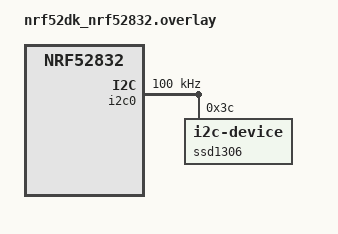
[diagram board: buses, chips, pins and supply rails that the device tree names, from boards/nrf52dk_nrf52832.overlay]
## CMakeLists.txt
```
#
# Copyright (c) 2019 Nordic Semiconductor ASA
#
# SPDX-License-Identifier: Apache-2.0
#

cmake_minimum_required(VERSION 3.20.0)
find_package(Zephyr REQUIRED HINTS $ENV{ZEPHYR_BASE})
project(ssd1306-oled-drivers)

FILE(GLOB app_sources src/*.c)
target_sources(app PRIVATE ${app_sources})
```

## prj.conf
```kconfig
#
# Copyright (c) 2019 Nordic Semiconductor ASA
#
# SPDX-License-Identifier: Apache-2.0
#
CONFIG_I2C=y
CONFIG_MULTITHREADING=y
```

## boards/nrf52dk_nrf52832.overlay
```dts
// To get started, press Ctrl+Space to bring up the completion menu and view the available nodes.

// You can also use the buttons in the sidebar to perform actions on nodes.
// Actions currently available include:

// * Enabling / disabling the node
// * Adding the bus to a bus
// * Removing the node
// * Connecting ADC channels

// For more help, browse the DeviceTree documentation at https://docs.zephyrproject.org/latest/guides/dts/index.html
// You can also visit the nRF DeviceTree extension documentation at https://docs.nordicsemi.com/bundle/nrf-connect-vscode/page/guides/ncs_configure_app.html#devicetree-support-in-the-extension
&i2c0 {
    ssd1306: ssd1306@3c{
        compatible = "i2c-device";
        status = "okay";
        reg = < 0x3c >;
    };

    clock-frequency = <I2C_BITRATE_STANDARD>;
};
```

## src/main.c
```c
#include <zephyr/kernel.h>
#include <zephyr/device.h>
#include <zephyr/devicetree.h>
#include <zephyr/sys/printk.h>
#include <zephyr/drivers/i2c.h>

#include "ssd1306.h"

#define I2C0_NODE DT_NODELABEL(ssd1306)
K_MUTEX_DEFINE(screen_write);

/* Define stack size and scheduling priority used by each thread */
#define STACKSIZE 1024
#define THREAD0_PRIORITY 2
#define THREAD1_PRIORITY 5

ssd1306_device dev;
uint32_t frame = 0;

void thread0(void)
{ 
  while (1)
  {
    for (int i = 0; i < 64; i++)
    {
      for (int r = -i / 4; r <= i / 4; r++)
      {
        ssd1306_drawPixelToBuff(dev.buffer, 10 + i, 16 + r, true);
      }
    }
    k_busy_wait(1500*1000);
    printk("Slept 1\n");

    k_msleep(10);
    printk("Slept 2\n");

    k_busy_wait(1500*1000);
    printk("Slept 3\n");

    k_msleep(10);
    printk("Slept 4\n");

    k_busy_wait(1500*1000);
    printk("Slept 5\n");

    for (int i = 63; i >= 0; i--)
    {
      for (int r = -i / 4; r <= i / 4; r++)
      {
        ssd1306_drawPixelToBuff(dev.buffer, 10 + i, 16 + r, false);
      }
    }

    ssd1306_writeStringToBuff(dev.buffer, "12345678", 10, 0, CharData);
    ssd1306_writeStringToBuff(dev.buffer, "ASDFGHJK", 10, 1, CharData);
    ssd1306_writeStringToBuff(dev.buffer, "ZXCVBNMH", 10, 2, CharData);
    ssd1306_writeStringToBuff(dev.buffer, "!@#$^&*(", 10, 3, CharData);
    k_msleep(60);
    printk("Slept 6\n");
    k_busy_wait(500*1000);

    ssd1306_writeStringToBuff(dev.buffer, "        ", 10, 0, CharData);
    ssd1306_writeStringToBuff(dev.buffer, "        ", 10, 1, CharData);
    ssd1306_writeStringToBuff(dev.buffer, "        ", 10, 2, CharData);
    ssd1306_writeStringToBuff(dev.buffer, "        ", 10, 3, CharData);
  }
}

void thread1(void)
{
  /* Retrieve the API-specific device structure and make sure that the device is ready to use  */
  static const struct i2c_dt_spec dev_i2c = I2C_DT_SPEC_GET(I2C0_NODE);
  if (!device_is_ready(dev_i2c.bus))
  {
    printk("Welp, not ready...");
    return 1;
  }
  ssd1306_device_init(&dev, &dev_i2c);
  ssd1306_init(&dev);

  uint32_t last = k_uptime_get();

  while (1)
  {
    uint32_t start = k_uptime_get();
    ssd1306_updateScreen(&dev);
    uint32_t delta2 = k_uptime_get() - start;
    uint32_t delta = k_uptime_get() - last;
    frame++;
    if (delta >= 1000) {
      
      printk("F: %d, L:%d, T:%d\n", frame, delta, delta2);
      frame = 0;
      k_msleep(30);
      last = k_uptime_get();
    }
  }
}

/* Main function is not mandatory. */
int main(void)
{
  return 0;
}

K_THREAD_DEFINE(thread0_id, STACKSIZE, thread0, NULL, NULL, NULL, THREAD0_PRIORITY, 0, 100);
K_THREAD_DEFINE(thread1_id, STACKSIZE, thread1, NULL, NULL, NULL, THREAD1_PRIORITY, 0, 0);
```

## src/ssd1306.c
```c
#include <zephyr/kernel.h>
#include <zephyr/drivers/i2c.h>
#include <stdbool.h>
#include <stdint.h>
#include "ssd1306.h"

bool x_reverse = false;
bool y_reverse = false;
uint8_t SSD1306_Buffer[SSD1306_WIDTH * SSD1306_HEIGHT / 8] = {};

void ssd1306_device_init(ssd1306_device* dev, const struct i2c_dt_spec* i2c_spec) {
    dev->buffer = SSD1306_Buffer;
    dev->i2c_spec = i2c_spec;
    // Additional setup could go here
}


  // Init LCD
uint8_t ssd1306_init(ssd1306_device* dev) {
  uint8_t errors = 0;

  errors += ssd1306_writeCommand(dev->i2c_spec, 0xA8);   // Set MUX ratio:
  errors += ssd1306_writeCommand(dev->i2c_spec, 0x1F);   // 0x1F (31) for 128x32, 0x3F (63) for 128x64.

  errors += ssd1306_writeCommand(dev->i2c_spec, 0xD3);   // Set display offset:
  errors += ssd1306_writeCommand(dev->i2c_spec, 0x00);   // No offset.

  errors += ssd1306_writeCommand(dev->i2c_spec, 0x40);   // Set Display Start Line (0x40~0x7F).

  errors += ssd1306_writeCommand(dev->i2c_spec, 0xA1);   // Set Segment Re-map (A0h/A1h). Set to A0 to flip horizontally.
  errors += ssd1306_writeCommand(dev->i2c_spec, 0xC8);   // Set COM Output Scan Direction (Scan direction: from COM0 to COM63, 0xC8 for reversed).

  errors += ssd1306_writeCommand(dev->i2c_spec, 0xDA);   // Set COM Pins Hardware Configuration to:
  errors += ssd1306_writeCommand(dev->i2c_spec, 0x02);   // 0x02 for 128x32, 0x12 for 128x64. 

  errors += ssd1306_writeCommand(dev->i2c_spec, 0x81);   // Set contrast Control for BANK0 (81h) to:
  errors += ssd1306_writeCommand(dev->i2c_spec, 0x20);   // 0x7F.

  errors += ssd1306_writeCommand(dev->i2c_spec, 0xA4);   // Get pixel info from RAM.

  errors += ssd1306_writeCommand(dev->i2c_spec, 0xA6);   // Normal display mode (0 in RAM: OFF, 1 in RAM: ON), 0xA6 for reversed.

  errors += ssd1306_writeCommand(dev->i2c_spec, 0xD5);   // Set Display Clock Divide Ratio/ Oscillator Frequency to:
  errors += ssd1306_writeCommand(dev->i2c_spec, 0xF0);   // F - max freq, 0 - min divider. 

  errors += ssd1306_writeCommand(dev->i2c_spec, 0x8D);   // Set charge pump to:
  errors += ssd1306_writeCommand(dev->i2c_spec, 0x14);   // 0x14 - enabled.

  errors += ssd1306_writeCommand(dev->i2c_spec, 0x20);   // Set addressing mode to:
  errors += ssd1306_writeCommand(dev->i2c_spec, 0x00);   // Horizontal mode. 0x10 for Page mode.

  errors += ssd1306_writeCommand(dev->i2c_spec, 0x21);   // Set min and max column
  errors += ssd1306_writeCommand(dev->i2c_spec, 0x00);   // Horizontal mode. 0x10 for Page mode.
  errors += ssd1306_writeCommand(dev->i2c_spec, 127);   // Horizontal mode. 0x10 for Page mode.

  errors += ssd1306_writeCommand(dev->i2c_spec, 0xAF);   // Enable display.

  return errors;
}


uint8_t ssd1306_drawPixelToBuff(uint8_t *buffer, uint8_t x, uint8_t y, bool color)
{   
  
  if (x >= SSD1306_WIDTH || y >= SSD1306_HEIGHT)
  {
    return 99;
  }

  if (color)
  {
    buffer[x + (y / 8) * SSD1306_WIDTH] |= 1 << (y % 8);
  }
  else
  {
    buffer[x + (y / 8) * SSD1306_WIDTH] &= ~(1 << (y % 8));
  }
  return 0;
}

uint8_t ssd1306_drawPixel(ssd1306_device* dev, uint8_t x, uint8_t y, bool color)
{ 
  uint8_t errors = 0;
  errors += ssd1306_drawPixelToBuff(dev->buffer, x, y, color);
  errors += ssd1306_updatePage(dev, x, y / 8);
  return errors;
}

/*
void ssd1306_writeChar(unsigned char ch, uint8_t start_x, uint8_t row, const fontData font[][5])
{ 
  uint8_t font_width = 5;
  for (int i = 0; i < font_width; i++) 
  {
    SSD1306_Buffer[start_x + row * SSD1306_WIDTH + i] = font[ch][i];
  }
  
  ssd1306_updateChar(start_x, row, font_width);
}
*/

uint8_t ssd1306_writeCharToBuff(uint8_t *buffer, unsigned char ch, uint8_t start_x, uint8_t row, const fontData font[][5])
{ 
  uint8_t font_width = 5;
  for (int i = 0; i < font_width; i++) 
  {
    buffer[start_x + row * SSD1306_WIDTH + i] = font[ch][i];
  }
  return 0;
}


uint8_t ssd1306_writeStringToBuff(uint8_t *buffer, char* str, uint8_t start_x, uint8_t row, const fontData font[][5])
{ 
  uint8_t chars_printed = 0;
  uint8_t font_width_with_spaces = 6;
  uint8_t length = strlen(str); 

  for (uint8_t i = 0; i < length; i++)
  {
    if (start_x + chars_printed*font_width_with_spaces < SSD1306_WIDTH)
    {
      ssd1306_writeCharToBuff(buffer, str[i], start_x + chars_printed*font_width_with_spaces, row, font);
      chars_printed++;
    }
    else {
      return 1;
    }
  }
  return 0;
}


uint8_t ssd1306_writeCommand(const struct i2c_dt_spec * dev_i2c, uint8_t command)
{   
  //HAL_I2C_Mem_Write(I2C_HandleTypeDef *hi2c, uint16_t DevAddress, uint16_t MemAddress, uint16_t MemAddSize, uint8_t *pData, uint16_t Size, uint32_t Timeout)
  //HAL_I2C_Mem_Write(_i2c, _address, 0x00, 1, &command, 1, 50);
  //i2c_reg_write_byte_dt
  return i2c_reg_write_byte_dt(dev_i2c, 0x00, command);
}

uint8_t ssd1306_writeData(const struct i2c_dt_spec * dev_i2c, uint8_t* data, uint16_t data_len)
{ 
    return i2c_burst_write_dt(dev_i2c, 0x40, data, data_len);
}

/*
uint8_t ssd1306_writeData(const struct i2c_dt_spec * dev_i2c, uint8_t* data, uint16_t data_len)
{ 
    // return HAL_I2C_Mem_Write(_i2c, _address, 0x40, 1, data, data_len, 100);
    uint8_t buf[1 + data_len];
    buf[0] = 0x40;           // Memory address (register)
    memcpy(&buf[1], data, data_len);  // Copy data after the memory address

    // Perform the I2C write operation
    return i2c_write_dt(dev_i2c, buf, sizeof(buf));
}*/

void i2c_transfer_complete_callback(){
  printk("Transfer CB!\n");
}

uint8_t ssd1306_writeDataDMA(const struct i2c_dt_spec * dev_i2c, uint8_t* data, uint16_t data_len)
{ 
    uint8_t buffer[data_len + 1];
    buffer[0] = 0x40;                     // First byte is the register address
    memcpy(&buffer[1], data, data_len);   // Copy the data after the register address

    // Create an I2C message for the burst write
    struct i2c_msg msg = {
        .buf = buffer,
        .len = data_len + 1,
        .flags = I2C_MSG_WRITE | I2C_MSG_STOP,
    };

    // Perform the asynchronous I2C transfer with a callback
    int ret = i2c_transfer_cb_dt(dev_i2c, &msg, 1, i2c_transfer_complete_callback, NULL);
    if (ret) {
        printk("Failed to start I2C burst write: %d\n", ret);
    }


  return 99;//HAL_I2C_Mem_Write_DMA(_i2c, _address, 0x40, 1, data, data_len);
}

// Page is vertical 8 bit chunk of LCD.
uint8_t ssd1306_updatePage(ssd1306_device* dev, uint8_t x, uint8_t p_index)
{
  uint8_t errors = 0;
  errors += ssd1306_writeCommand(dev->i2c_spec, 0xB0 + p_index);    // Set the page start address of the target display location by command (0xB0 to 0xB7).
  errors += ssd1306_writeCommand(dev->i2c_spec, x % 16);            // Set the lower start column address of pointer by command (0x00~0x0F).
  errors += ssd1306_writeCommand(dev->i2c_spec, 0x10 + x/16);       // Set the upper start column address of pointer by command (0x10~0x1F).

  errors += ssd1306_writeData(dev->i2c_spec, &dev->buffer[x + p_index * 128], 1);
  return errors;
}

/*
// Page is vertical 8 bit chunk of LCD.
void ssd1306_updateChar(uint8_t *buffer, uint8_t start_x, uint8_t row, uint8_t char_width)
{
  ssd1306_writeCommand(0xB0 + row);              // Set the page start address of the target display location by command (0xB0 to 0xB7).
  ssd1306_writeCommand(start_x % 16);            // Set the lower start column address of pointer by command (0x00~0x0F).
  ssd1306_writeCommand(0x10 + start_x/16);       // Set the upper start column address of pointer by command (0x10~0x1F).

  ssd1306_writeData(buffer[start_x + row * 128], char_width);
}
*/

uint8_t ssd1306_updateScreen(ssd1306_device* dev)
{
  uint8_t errors = 0;
  errors += ssd1306_writeCommand(dev->i2c_spec, 0xB0);       // Set the page start address of the target display location by command (0xB0 to 0xB7).
  errors += ssd1306_writeCommand(dev->i2c_spec, 0x00);       // Set the lower start column address of pointer by command (0x00~0x0F).
  errors += ssd1306_writeCommand(dev->i2c_spec, 0x10);       // Set the upper start column address of pointer by command (0x10~0x1F).
  errors += ssd1306_writeData(dev->i2c_spec, &dev->buffer[0], 512);
  return errors;
}


uint8_t ssd1306_updateScreenDMA(ssd1306_device* dev)
{
    uint8_t errors = 0;
  errors += ssd1306_writeCommand(dev->i2c_spec, 0xB0);       // Set the page start address of the target display location by command (0xB0 to 0xB7).
  errors += ssd1306_writeCommand(dev->i2c_spec, 0x00);       // Set the lower start column address of pointer by command (0x00~0x0F).
  errors += ssd1306_writeCommand(dev->i2c_spec, 0x10);       // Set the upper start column address of pointer by command (0x10~0x1F).
  errors += ssd1306_writeDataDMA(dev->i2c_spec, &dev->buffer[0], 512);

  return errors;
}
```

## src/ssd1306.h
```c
#ifndef SSD1306_H
#define SSD1306_H

#include <stdint.h>
#include <stdbool.h>
#include "ssd1306_font_5x8.h"

#define SSD1306_HEIGHT 32
#define SSD1306_WIDTH 128

typedef struct {
    const struct i2c_dt_spec* i2c_spec;
    uint8_t* buffer;
} ssd1306_device;

void ssd1306_device_init(ssd1306_device* dev, const struct i2c_dt_spec* i2c_spec);
uint8_t ssd1306_init(ssd1306_device* dev);
uint8_t ssd1306_drawPixel(ssd1306_device* dev, uint8_t x, uint8_t y, bool color);
uint8_t ssd1306_drawPixelToBuff(uint8_t *buffer, uint8_t x, uint8_t y, bool color);
//void writeChar(unsigned char ch, uint8_t start_x, uint8_t row, const fontData font[][5]);
uint8_t ssd1306_writeCharToBuff(uint8_t *buffer, unsigned char ch, uint8_t start_x, uint8_t row, const fontData font[][5]);
uint8_t ssd1306_writeStringToBuff(uint8_t *buffer, char* str, uint8_t start_x, uint8_t row, const fontData font[][5]);
uint8_t ssd1306_updateScreen(ssd1306_device* dev);
uint8_t ssd1306_updateScreenDMA(ssd1306_device* dev);


uint8_t ssd1306_writeCommand(const struct i2c_dt_spec *dev_i2c, uint8_t command);
uint8_t ssd1306_writeData(const struct i2c_dt_spec * dev_i2c, uint8_t* data, uint16_t data_len);
//uint8_t _writeDataDMA(uint8_t* data, uint16_t data_len);
uint8_t ssd1306_updatePage(ssd1306_device* dev, uint8_t x, uint8_t p_index);
//void _updateChar(uint8_t start_x, uint8_t row, uint8_t char_width);


#endif
```

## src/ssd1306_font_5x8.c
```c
#include "ssd1306_font_5x8.h"

fontData CharData[128][5] = {
  // 0 NUL
 {0b00000000, 0b00000000, 0b00000000, 0b00000000, 0b00000000},
  // 1 SOH
 {0b00000000, 0b00000000, 0b00000000, 0b00000000, 0b00000000},
  // 2 STX
 {0b00000000, 0b00000000, 0b00000000, 0b00000000, 0b00000000},
  // 3 ETX
 {0b00000000, 0b00000000, 0b00000000, 0b00000000, 0b00000000},
  // 4 QOT
 {0b00000000, 0b00000000, 0b00000000, 0b00000000, 0b00000000},
  // 5 ENQ
 {0b00000000, 0b00000000, 0b00000000, 0b00000000, 0b00000000},
  // 6 ACK
 {0b00000000, 0b00000000, 0b00000000, 0b00000000, 0b00000000},
  // 7 BEL
 {0b00000000, 0b00000000, 0b00000000, 0b00000000, 0b00000000},
  // 8 BS
 {0b00000000, 0b00000000, 0b00000000, 0b00000000, 0b00000000},
  // 9 HT
 {0b00000000, 0b00000000, 0b00000000, 0b00000000, 0b00000000},
  // 10 LF
 {0b00000000, 0b00000000, 0b00000000, 0b00000000, 0b00000000},
  // 11 VT
 {0b00000000, 0b00000000, 0b00000000, 0b00000000, 0b00000000},
  // 12 FF
 {0b00000000, 0b00000000, 0b00000000, 0b00000000, 0b00000000},
  // 13 CR
 {0b00000000, 0b00000000, 0b00000000, 0b00000000, 0b00000000},
  // 14 SO
 {0b00000000, 0b00000000, 0b00000000, 0b00000000, 0b00000000},
  // 15 SI
 {0b00000000, 0b00000000, 0b00000000, 0b00000000, 0b00000000},
  // 16 DLE
 {0b00000000, 0b00000000, 0b00000000, 0b00000000, 0b00000000},
  // 17 DC1
 {0b00000000, 0b00000000, 0b00000000, 0b00000000, 0b00000000},
  // 18 DC2
 {0b00000000, 0b00000000, 0b00000000, 0b00000000, 0b00000000},
  // 19 DC3
 {0b00000000, 0b00000000, 0b00000000, 0b00000000, 0b00000000},
  // 20 DC4
 {0b00000000, 0b00000000, 0b00000000, 0b00000000, 0b00000000},
  // 21 NAK
 {0b00000000, 0b00000000, 0b00000000, 0b00000000, 0b00000000},
  // 22 SYN
 {0b00000000, 0b00000000, 0b00000000, 0b00000000, 0b00000000},
  // 23 ETB
 {0b00000000, 0b00000000, 0b00000000, 0b00000000, 0b00000000},
  // 24 CAN
 {0b00000000, 0b00000000, 0b00000000, 0b00000000, 0b00000000},
  // 25 EM
 {0b00000000, 0b00000000, 0b00000000, 0b00000000, 0b00000000},
  // 26 SUB
 {0b00000000, 0b00000000, 0b00000000, 0b00000000, 0b00000000},
  // 27 ESC
 {0b00000000, 0b00000000, 0b00000000, 0b00000000, 0b00000000},
  // 28 FS
 {0b00000000, 0b00000000, 0b00000000, 0b00000000, 0b00000000},
  // 29 GS
 {0b00000000, 0b00000000, 0b00000000, 0b00000000, 0b00000000},
  // 30 RS
 {0b00000000, 0b00000000, 0b00000000, 0b00000000, 0b00000000},
  // 31 US
 {0b00000000, 0b00000000, 0b00000000, 0b00000000, 0b00000000},
  // 32 Space
 {0b00000000, 0b00000000, 0b00000000, 0b00000000, 0b00000000},
  // 33 !
 {0b00000000,
  0b00000000,
  0b01011111,
  0b00000000,
  0b00000000},
  // 34 "
 {0b00000000,
  0b00000111,
  0b00000000,
  0b00000111,
  0b00000000},
  // 35 #
 {0b00010100,
  0b01111111,
  0b00010100,
  0b01111111,
  0b00010100},
  // 36 $
 {0b00100100,
  0b00101010,
  0b01111111,
  0b00101010,
  0b00010010},
  // 37 %
 {0b00100011,
  0b00010011,
  0b00001000,
  0b01100100,
  0b01100010},
  // 38 &
 {0b00110110,
  0b01001001,
  0b01010110,
  0b00100000,
  0b01010000},
  // 39 '
 {0b00000000,
  0b00000111,
  0b00000000,
  0b00000000,
  0b00000000},
  // 40 (
 {0b00000000,
  0b00011100,
  0b01100011,
  0b00000000,
  0b00000000},
  // 41 )
 {0b00000000,
  0b00000000,
  0b01100011,
  0b00011100,
  0b00000000},
  // 42 *
 {0b00001010,
  0b00000100,
  0b00011111,
  0b00000100,
  0b00001010},
  // 43 +
 {0b00001000,
  0b00001000,
  0b00111110,
  0b00001000,
  0b00001000},
  // 44 ,
 {0b00000000,
  0b11100000,
  0b00000000,
  0b00000000,
  0b00000000},
  // 45 -
 {0b00001000,
  0b00001000,
  0b00001000,
  0b00001000,
  0b00001000},
  // 46 .
 {0b00000000,
  0b01100000,
  0b01100000,
  0b00000000,
  0b00000000},
  // 47 /
 {0b00000000,
  0b01100000,
  0b00011100,
  0b00000011,
  0b00000000},
  // 48 0
 {0b00111110,
  0b01010001,
  0b01001001,
  0b01000101,
  0b00111110},
  // 49 1
 {0b01000100,
  0b01000010,
  0b01111111,
  0b01000000,
  0b01000000},
  // 50 2
 {0b01100010,
  0b01010001,
  0b01001001,
  0b01001001,
  0b01000110},
  // 51 3
 {0b00100010,
  0b01000001,
  0b01001001,
  0b01001001,
  0b00110110},
  // 52 4
 {0b00011000,
  0b00010100,
  0b00010010,
  0b01111111,
  0b00010000},
  // 53 5
 {0b00100111,
  0b01000101,
  0b01000101,
  0b01000101,
  0b00111001},
  // 54 6
 {0b00111110,
  0b01001001,
  0b01001001,
  0b01001001,
  0b00110010},
  // 55 7
 {0b00000001,
  0b01110001,
  0b00001001,
  0b00000101,
  0b00000011},
  // 56 8
 {0b00110110,
  0b01001001,
  0b01001001,
  0b01001001,
  0b00110110},
  // 57 9
 {0b00100110,
  0b01001001,
  0b01001001,
  0b01001001,
  0b00111110},
  // 58 :
 {0b00000000,
  0b01100110,
  0b01100110,
  0b00000000,
  0b00000000},
  // 59 ;
 {0b00000000,
  0b00010110,
  0b01110110,
  0b00000000,
  0b00000000},
  // 60 <
 {0b00001000,
  0b00010100,
  0b00100010,
  0b01000001,
  0b00000000},
  // 61 =
 {0b00100100,
  0b00100100,
  0b00100100,
  0b00100100,
  0b00100100},
  // 62 >
 {0b00000000,
  0b01000001,
  0b00100010,
  0b00010100,
  0b00001000},
  // 63 ?
 {0b00000010,
  0b00000001,
  0b01010001,
  0b00001001,
  0b00000110},
  // 64 @
 {0b00111110,
  0b01001001,
  0b01110001,
  0b01000001,
  0b00011110},
  // 65 A
 {0b01111110,
  0b00010001,
  0b00010001,
  0b00010001,
  0b01111110},
  // 66 B
 {0b01111111,
  0b01001001,
  0b01001001,
  0b01001001,
  0b00110110},
  // 67 C
 {0b00111110,
  0b01000001,
  0b01000001,
  0b01000001,
  0b00100010},
  // 68 D
 {0b01111111,
  0b01000001,
  0b01000001,
  0b00100010,
  0b00011100},
  // 69 E
 {0b01111111,
  0b01001001,
  0b01001001,
  0b01001001,
  0b01000001},
  // 70 F
 {0b01111111,
  0b00001001,
  0b00001001,
  0b00001001,
  0b00000001},
  // 71 G
 {0b00111110,
  0b01000001,
  0b01000001,
  0b01001001,
  0b00111000},
  // 72 H
 {0b01111111,
  0b00001000,
  0b00001000,
  0b00001000,
  0b01111111},
  // 73 I
 {0b00000000,
  0b01000001,
  0b01111111,
  0b01000001,
  0b00000000},
  // 74 J
 {0b00100000,
  0b01000000,
  0b01000001,
  0b00111111,
  0b00000001},
  // 75 K
 {0b01111111,
  0b00001000,
  0b00010100,
  0b00100010,
  0b01000001},
  // 76 L
 {0b01111111,
  0b01000000,
  0b01000000,
  0b01000000,
  0b01000000},
  // 77 M
 {0b01111111,
  0b00000010,
  0b00000100,
  0b00000010,
  0b01111111},
  // 78 N
 {0b01111111,
  0b00000100,
  0b00001000,
  0b00010000,
  0b01111111},
  // 79 O
 {0b00111110,
  0b01000001,
  0b01000001,
  0b01000001,
  0b00111110},
  // 80 P
 {0b01111111,
  0b00001001,
  0b00001001,
  0b00001001,
  0b00000110},
  // 81 Q
 {0b00111110,
  0b01000001,
  0b00100001,
  0b01000001,
  0b10111110},
  // 82 R
 {0b01111111,
  0b00001001,
  0b00011001,
  0b00101001,
  0b01000110},
  // 83 S
 {0b00100110,
  0b01001001,
  0b01001001,
  0b01001001,
  0b00110010},
  // 84 T
 {0b00000001,
  0b00000001,
  0b01111111,
  0b00000001,
  0b00000001},
  // 85 U
 {0b00111111,
  0b01000000,
  0b01000000,
  0b01000000,
  0b00111111},
  // 86 V
 {0b00000111,
  0b00011000,
  0b01100000,
  0b00011000,
  0b00000111},
  // 87 W
 {0b01111111,
  0b00100000,
  0b00010000,
  0b00100000,
  0b01111111},
  // 88 X
 {0b01100011,
  0b00010100,
  0b00001000,
  0b00010100,
  0b01100011},
  // 89 Y
 {0b00000011,
  0b00001100,
  0b01110000,
  0b00001100,
  0b00000011},
  // 90 Z
 {0b01100001,
  0b01010001,
  0b01001001,
  0b01000101,
  0b01000011},
  // 91 [
 {0b00000000,
  0b01111111,
  0b01000001,
  0b00000000,
  0b00000000},
  // 92 \'\'
 {0b00000000,
  0b00000011,
  0b00011100,
  0b01100000,
  0b00000000},
  // 93 ]
 {0b00000000,
  0b00000000,
  0b01000001,
  0b01111111,
  0b00000000},
  // 94 ^
 {0b00000100,
  0b00000010,
  0b00000001,
  0b00000010,
  0b00000100},
  // 95 _
 {0b01000000,
  0b01000000,
  0b01000000,
  0b01000000,
  0b01000000},
  // 96 '
 {0b00000000,
  0b00000111,
  0b00000000,
  0b00000000,
  0b00000000},
  // 97 a
 {0b00100000,
  0b01010100,
  0b01010100,
  0b01010100,
  0b01111000},
  // 98 b
 {0b01111111,
  0b01000100,
  0b01000100,
  0b01000100,
  0b00111000},
  // 99 c
 {0b00111000,
  0b01000100,
  0b01000100,
  0b01000100,
  0b00101000},
  // 100 d
 {0b00111000,
  0b01000100,
  0b01000100,
  0b01000100,
  0b01111111},
  // 101 e
 {0b00111000,
  0b01010100,
  0b01010100,
  0b01010100,
  0b00011000},
  // 102 f
 {0b00001000,
  0b01111110,
  0b00001001,
  0b00000001,
  0b00000010},
  // 103 g
 {0b00011000,
  0b00100100,
  0b10100100,
  0b10100100,
  0b01111000},
  // 104 h
 {0b01111111,
  0b00000100,
  0b00000100,
  0b00000100,
  0b01111000},
  // 105 i
 {0b00000000,
  0b01000100,
  0b01111101,
  0b01000000,
  0b00000000},
  // 106 j
 {0b00000000,
  0b01000000,
  0b10000000,
  0b10000000,
  0b01111101},
  // 107 k
 {0b01111111,
  0b00010000,
  0b00011000,
  0b00100100,
  0b01000000},
  // 108 l
 {0b00000000,
  0b01000001,
  0b01111111,
  0b01000000,
  0b00000000},
  // 109 m
 {0b01111100,
  0b00000100,
  0b00001000,
  0b00000100,
  0b01111000},
  // 110 n
 {0b01111100,
  0b00001000,
  0b00000100,
  0b00000100,
  0b01111000},
  // 111 o
 {0b00111000,
  0b01000100,
  0b01000100,
  0b01000100,
  0b00111000},
  // 112 p
 {0b11111100,
  0b00100100,
  0b00100100,
  0b00100100,
  0b00011000},
  // 113 q
 {0b00011000,
  0b00100100,
  0b00100100,
  0b00100100,
  0b11111100},
  // 114 r
 {0b01111100,
  0b00001000,
  0b00000100,
  0b00000100,
  0b00000000},
  // 115 s
 {0b01001000,
  0b01010100,
  0b01010100,
  0b01010100,
  0b00100000},
  // 116 t
 {0b00000100,
  0b00111111,
  0b01000100,
  0b01000000,
  0b00100000},
  // 117 u
 {0b00111100,
  0b01000000,
  0b01000000,
  0b00100000,
  0b01111100},
  // 118 v
 {0b00011100,
  0b00100000,
  0b01000000,
  0b00100000,
  0b00011100},
  // 119 w
 {0b00111100,
  0b01000000,
  0b00100000,
  0b01000000,
  0b00111100},
  // 120 x
 {0b01000100,
  0b00101000,
  0b00010000,
  0b00101000,
  0b01000100},
  // 121 y
 {0b00011100,
  0b00100000,
  0b10100000,
  0b10100000,
  0b01111100},
  // 122 z
 {0b01000100,
  0b01100100,
  0b01010100,
  0b01001100,
  0b01000100},
  // 123 {
 {0b00000000,
  0b00001000,
  0b00110110,
  0b01000001,
  0b00000000},
  // 124 |
 {0b00000000,
  0b00000000,
  0b01111111,
  0b00000000,
  0b00000000},
  // 125 }
 {0b00000000,
  0b01000001,
  0b00110110,
  0b00001000,
  0b00000000},
  // 126 ~
 {0b00010000,
  0b00001000,
  0b00010000,
  0b00100000,
  0b00010000},
  // 127 DEL
 {0b11111111,
  0b11111111,
  0b11111111,
  0b11111111,
  0b11111111}
};
```

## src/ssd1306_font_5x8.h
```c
#ifndef SSD1306_FONT_5x8_H
#define SSD1306_FONT_5x8_H


#include <stdint.h>
typedef uint8_t fontData;

#define fontWidth 5                  // Font width, padding excluded.
#define fontHeight 8                 // Font height, padding included.
extern fontData CharData[128][5];

#endif  // SSD1306_FONT_5x8_H
```
